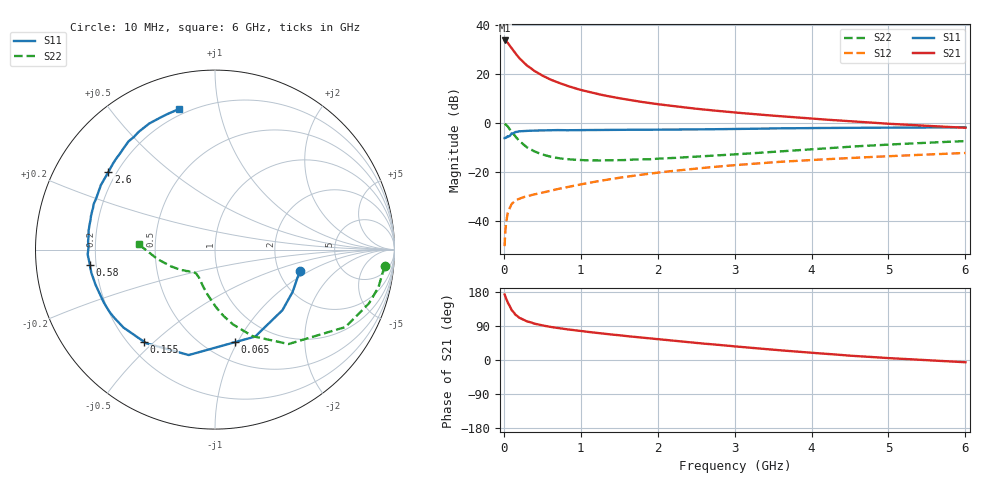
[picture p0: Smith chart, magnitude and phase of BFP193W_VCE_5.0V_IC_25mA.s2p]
! Infineon Technologies  Discrete & RF Semiconductors
! BFP193W
! VCE = 5.0 V,  IC =  25 mA
! Common Emitter S-Parameters:  Jan 2016
# GHz  S  MA  R  50
!  f  S11  S21  S12  S22
! GHz  MAG  ANG  MAG  ANG  MAG  ANG  MAG  ANG
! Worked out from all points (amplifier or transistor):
!   210 points, 10 MHz to 6 GHz, reference 50 ohm
!   highest |S21| = 33.7 dB at 10 MHz (marker M1)
!   |S21| within 3 dB of that: start of sweep to 98.02 MHz
!   unconditionally stable (mu >= 1): 888.4 MHz to 4.245 GHz
!   at 185 MHz: K = 0.37, MSG = 29.2 dB, |S12| = -31.3 dB
!   at 1.52 GHz: K = 1.11, MAG = 14.2 dB, |S12| = -22.4 dB
!   at 6 GHz: K = 0.93, MSG = 5.2 dB, |S12| = -12.3 dB
!   S11 on the Smith chart (normalised r, x): 10 MHz: 2.60, -0.82; 65 MHz: 0.68, -0.98; 155 MHz: 0.26, -0.46; 580 MHz: 0.18, -0.06; 2.6 GHz: 0.17, +0.32; 6 GHz: 0.17, +0.76
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0.01  0.4872 -14.3  48.33 172.8  0.003 86.3  0.949 -5.6
0.02  0.4926 -28.6  47.78 167.8  0.0062 78.2  0.9346 -13.0
0.03  0.5051 -41.9  46.7 162.1  0.009 75.3  0.909 -19.2
0.05  0.5338 -65.2  43.3 151.4  0.0141 66.3  0.8451 -30.7
0.065  0.5276 -77.7  40.06 146.6  0.0163 60.7  0.7813 -36.1
0.1  0.6055 -104.0  33.93 132.1  0.0217 52.2  0.6669 -52.1
0.15  0.6475 -126.3  26.41 119.5  0.0257 44.8  0.5253 -66.6
0.155  0.6481 -127.7  25.86 118.9  0.0259 44.4  0.5151 -67.4
0.2  0.6698 -139.6  21.14 111.7  0.028 41.3  0.4292 -76.4
0.24  0.6787 -146.5  18.28 107.4  0.0296 40.8  0.3773 -82.1
0.3  0.6861 -154.5  14.86 102.0  0.0313 40.3  0.3158 -89.6
0.4  0.6937 -163.5  11.41 95.8  0.0345 42.0  0.259 -98.5
0.58  0.7022 -173.0  8.042 88.4  0.0399 45.8  0.2082 -109.8
0.8  0.7048 179.1  5.865 81.5  0.0476 50.3  0.1814 -118.7
1.02  0.7087 173.5  4.623 76.0  0.0557 52.9  0.1728 -125.0
1.4  0.7155 165.2  3.398 67.3  0.0708 55.2  0.1717 -131.7
2.02  0.724 153.5  2.384 54.4  0.0965 55.2  0.1857 -138.6
2.6  0.7344 143.9  1.867 43.2  0.12 52.9  0.2065 -145.9
3.1  0.7504 136.0  1.577 34.3  0.1399 50.2  0.2312 -152.2
4.1  0.7832 122.0  1.188 17.6  0.1771 43.7  0.2943 -165.9
5.1  0.7973 111.6  0.938 4.0  0.2109 37.3  0.3654 -177.2
6  0.8086 104.3  0.792 -5.9  0.2418 32.1  0.4232 176.1
